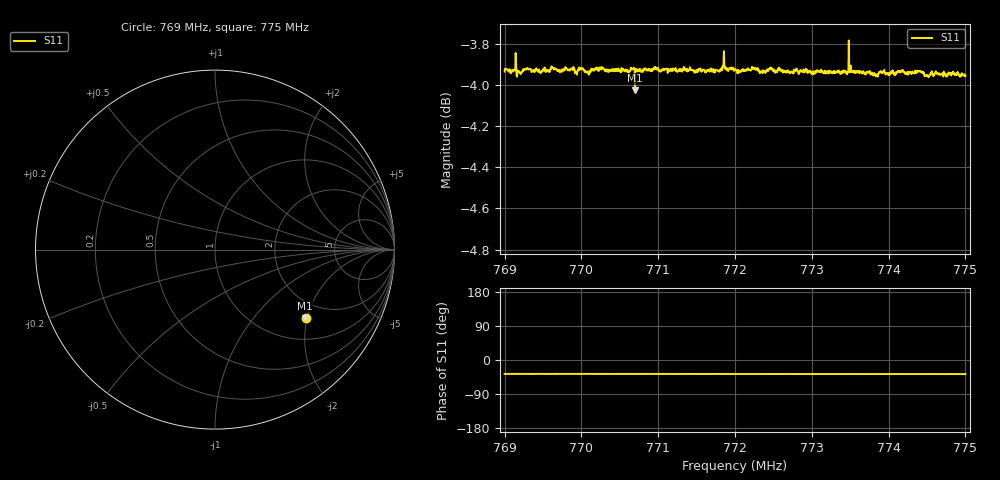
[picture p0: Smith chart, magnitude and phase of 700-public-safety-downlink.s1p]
! Calibrated averaged scanner-service zoom
# Hz S RI R 50
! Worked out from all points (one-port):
!   1001 points, 769 MHz to 775 MHz, reference 50 ohm
!   lowest |S11| = -4.0 dB at 770.698 MHz (marker M1), VSWR 4.39, Z = 76.5 - j96.5 ohm
!   |S11| at or under -10 dB: nowhere
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7.69e8  0.5096 -0.3801
7.69462e8  0.5102 -0.3792
7.6963e8  0.5101 -0.3816
7.6975e8  0.5091 -0.3806
7.69882e8  0.5106 -0.3799
7.70092e8  0.5092 -0.3804
7.70182e8  0.5101 -0.3807
7.705e8  0.5092 -0.3806
7.70662e8  0.5101 -0.3805
7.70698e8  0.5005 -0.3811
7.70956e8  0.5103 -0.3818
7.7125e8  0.5082 -0.3818
7.71778e8  0.5081 -0.3824
7.71844e8  0.5097 -0.3825
7.72e8  0.5088 -0.3826
7.72252e8  0.5089 -0.3825
7.72372e8  0.5084 -0.382
7.72462e8  0.5089 -0.3835
7.7275e8  0.5082 -0.3819
7.73404e8  0.507 -0.3827
7.735e8  0.5078 -0.382
7.73566e8  0.5063 -0.3835
7.7383e8  0.5067 -0.3821
7.7425e8  0.5059 -0.3831
7.74418e8  0.507 -0.3835
7.74502e8  0.506 -0.3824
7.74808e8  0.5065 -0.3835
7.75e8  0.505 -0.3835
